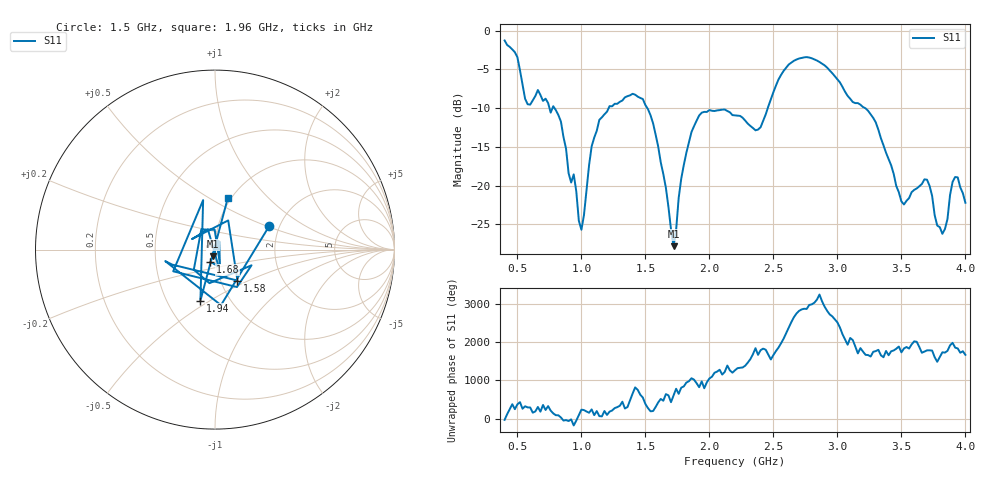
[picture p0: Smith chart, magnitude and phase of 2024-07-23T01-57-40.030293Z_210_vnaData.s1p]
!Created with skrf (http://scikit-rf.org).
# Hz S RI R 50.0
!freq ReS11 ImS11
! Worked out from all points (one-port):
!   181 points, 400 MHz to 4 GHz, reference 50 ohm
!   lowest |S11| = -27.8 dB at 1.72 GHz (marker M1), VSWR 1.08, Z = 48.5 - j3.73 ohm
!   |S11| at or under -10 dB: 789.8 MHz to 1.213 GHz (423.1 MHz wide, 42.3 % of centre); 1.515 GHz to 2.456 GHz (941.1 MHz wide, 47.4 % of centre); 3.217 GHz to end of sweep (the widest 3 of 4)
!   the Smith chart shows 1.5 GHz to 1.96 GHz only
!   S11 on the Smith chart (normalised r, x): 1.5 GHz: 1.77, +0.53; 1.58 GHz: 1.20, -0.43; 1.68 GHz: 0.94, -0.13; 1.94 GHz: 0.73, -0.45; 1.96 GHz: 0.96, +0.61
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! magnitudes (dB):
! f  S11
! 400 MHz  -1.3
! 500 MHz  -3.4
! 580 MHz  -9.5
! 660 MHz  -7.7
! 860 MHz  -13.7
! 1 GHz  -25.7
! 1.08 GHz  -14.9
! 1.14 GHz  -11.5
! 1.3 GHz  -9.2
! 1.5 GHz  -9.6
! 1.58 GHz  -13.4
! 1.68 GHz  -22.8
! 1.72 GHz  -27.8
! 1.76 GHz  -21.6
! 1.86 GHz  -13.1
! 1.94 GHz  -10.6
! 1.96 GHz  -10.5
! 2.2 GHz  -10.9
! 2.4 GHz  -12.5
! 2.66 GHz  -3.9
! 3.1 GHz  -8.8
! 3.28 GHz  -11.3
! 3.5 GHz  -22.0
! 3.56 GHz  -21.6
! 3.7 GHz  -19.2
! 3.82 GHz  -26.2
! 3.92 GHz  -18.9
! 4 GHz  -22.2
